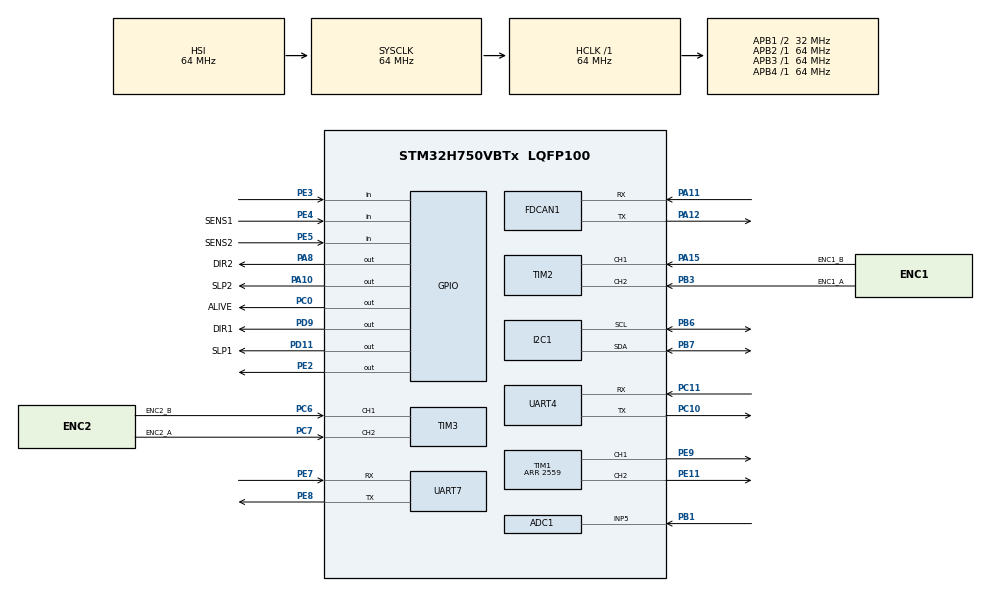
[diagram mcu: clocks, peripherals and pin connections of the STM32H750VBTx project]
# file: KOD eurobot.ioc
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ADC1.Channel-0\#ChannelRegularConversion=ADC_CHANNEL_5
ADC1.ContinuousConvMode=ENABLE
ADC1.ConversionDataManagement=ADC_CONVERSIONDATA_DR
ADC1.NbrOfConversionFlag=1
ADC1.OffsetNumber-0\#ChannelRegularConversion=ADC_OFFSET_NONE
ADC1.OffsetSignedSaturation-0\#ChannelRegularConversion=DISABLE
ADC1.Overrun=ADC_OVR_DATA_OVERWRITTEN
ADC1.Rank-0\#ChannelRegularConversion=1
ADC1.SamplingTime-0\#ChannelRegularConversion=ADC_SAMPLETIME_387CYCLES_5
ADC1.master=1
CORTEX_M7.default_mode_Activation=1
FDCAN1.CalculateBaudRateNominal=500000
FDCAN1.CalculateTimeBitNominal=2000
FDCAN1.CalculateTimeQuantumNominal=100.0
FDCAN1.NominalPrescaler=2
FDCAN1.NominalTimeSeg1=15
FDCAN1.NominalTimeSeg2=4
FDCAN1.RxFifo0ElmtsNbr=8
FDCAN1.RxFifo1ElmtsNbr=8
FDCAN1.StdFiltersNbr=1
FDCAN1.TxFifoQueueElmtsNbr=8
I2C1.Timing=0x00707CBB
Mcu.Family=STM32H7
Mcu.Name=STM32H750VBTx
Mcu.Package=LQFP100
NVIC.FDCAN1_IT0_IRQn=true\:5\:0\:true\:false\:true\:true\:true\:true
NVIC.PriorityGroup=NVIC_PRIORITYGROUP_4
NVIC.TIM7_IRQn=true\:0\:0\:false\:false\:true\:true\:true\:true
PA10.GPIO_Label=SLP2
PA10.GPIO_ModeDefaultOutputPP=GPIO_MODE_OUTPUT_PP
PA10.GPIO_PuPd=GPIO_NOPULL
PA10.GPIO_Speed=GPIO_SPEED_FREQ_LOW
PA10.PinState=GPIO_PIN_RESET
PA10.Signal=GPIO_Output
PA11.GPIO_PuPd=GPIO_PULLUP
PA11.Mode=FDCAN_Activate
PA11.Signal=FDCAN1_RX
PA12.Mode=FDCAN_Activate
PA12.Signal=FDCAN1_TX
PA13\ (JTMS/SWDIO).Mode=Serial_Wire
PA13\ (JTMS/SWDIO).Signal=DEBUG_JTMS-SWDIO
PA14\ (JTCK/SWCLK).Mode=Serial_Wire
PA14\ (JTCK/SWCLK).Signal=DEBUG_JTCK-SWCLK
PA15\ (JTDI).GPIO_Label=ENC1_B
PA15\ (JTDI).GPIO_PuPd=GPIO_PULLUP
PA15\ (JTDI).Signal=S_TIM2_CH1_ETR
PA8.GPIO_Label=DIR2
PA8.Signal=GPIO_Output
PB1.Signal=ADCx_INP5
PB3\ (JTDO/TRACESWO).GPIO_Label=ENC1_A
PB3\ (JTDO/TRACESWO).GPIO_PuPd=GPIO_PULLUP
PB3\ (JTDO/TRACESWO).Signal=S_TIM2_CH2
PB6.GPIO_Pu=GPIO_PULLUP
PB6.Mode=I2C
PB6.Signal=I2C1_SCL
PB7.GPIO_Pu=GPIO_PULLUP
PB7.Mode=I2C
PB7.Signal=I2C1_SDA
PC0.GPIO_Label=ALIVE
PC0.GPIO_PuPd=GPIO_PULLDOWN
PC0.Signal=GPIO_Output
PC10.Mode=Asynchronous
PC10.Signal=UART4_TX
PC11.Mode=Asynchronous
PC11.Signal=UART4_RX
PC6.GPIO_Label=ENC2_B
PC6.GPIO_PuPd=GPIO_PULLUP
PC6.Signal=S_TIM3_CH1
PC7.GPIO_Label=ENC2_A
PC7.GPIO_PuPd=GPIO_PULLUP
PC7.Signal=S_TIM3_CH2
PD11.GPIO_Label=SLP1
PD11.GPIO_PuPd=GPIO_NOPULL
PD11.PinState=GPIO_PIN_RESET
PD11.Signal=GPIO_Output
PD9.GPIO_Label=DIR1
PD9.GPIO_PuPd=GPIO_PULLDOWN
PD9.Signal=GPIO_Output
PE11.Signal=S_TIM1_CH2
PE2.Signal=GPIO_Output
PE3.Signal=GPIO_Input
PE4.GPIO_Label=SENS1
PE4.GPIO_PuPd=GPIO_PULLDOWN
PE4.Signal=GPIO_Input
PE5.GPIO_Label=SENS2
PE5.GPIO_PuPd=GPIO_PULLDOWN
PE5.Signal=GPIO_Input
PE7.Mode=Asynchronous
PE7.Signal=UART7_RX
PE8.Mode=Asynchronous
PE8.Signal=UART7_TX
PE9.Signal=S_TIM1_CH1
ProjectManager.HeapSize=0x200
ProjectManager.StackSize=0x400
ProjectManager.TargetToolchain=STM32CubeIDE
RCC.ADCFreq_Value=80000000
RCC.APB1Freq_Value=32000000
RCC.APB2Freq_Value=64000000
RCC.APB3Freq_Value=64000000
RCC.APB4Freq_Value=64000000
RCC.CortexFreq_Value=64000000
RCC.D2PPRE1=RCC_APB1_DIV2
RCC.DIVM1=4
RCC.DIVM2=4
RCC.DIVN1=10
RCC.DIVN2=10
RCC.DIVQ1=8
RCC.HCLKFreq_Value=64000000
RCC.PLL2FRACN=0
RCC.PLLFRACN=0
RCC.SYSCLKFreq_VALUE=64000000
RCC.USBFreq_Value=20000000
SH.ADCx_INP5.0=ADC1_INP5,IN5-Single-Ended
SH.S_TIM1_CH1.0=TIM1_CH1,PWM Generation1 CH1
SH.S_TIM1_CH2.0=TIM1_CH2,PWM Generation2 CH2
SH.S_TIM2_CH1_ETR.0=TIM2_CH1,Encoder_Interface
SH.S_TIM2_CH2.0=TIM2_CH2,Encoder_Interface
SH.S_TIM3_CH1.0=TIM3_CH1,Encoder_Interface
SH.S_TIM3_CH2.0=TIM3_CH2,Encoder_Interface
TIM1.AutoReloadPreload=TIM_AUTORELOAD_PRELOAD_ENABLE
TIM1.Channel-PWM\ Generation1\ CH1=TIM_CHANNEL_1
TIM1.Channel-PWM\ Generation2\ CH2=TIM_CHANNEL_2
TIM1.Period=2559
TIM1.Pulse-PWM\ Generation1\ CH1=1280
TIM2.EncoderMode=TIM_ENCODERMODE_TI12
TIM3.EncoderMode=TIM_ENCODERMODE_TI12
TIM7.AutoReloadPreload=TIM_AUTORELOAD_PRELOAD_ENABLE
TIM7.Period=1999
TIM7.Prescaler=63
VP_MEMORYMAP_VS_MEMORYMAP.Mode=CurAppReg
VP_TIM7_VS_ClockSourceINT.Mode=Enable_Timer
board=custom

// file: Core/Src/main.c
/* USER CODE BEGIN Header */
/**
  ******************************************************************************
  * @file           : main.c
  * @brief          : STM kretacka - brzina levog/desnog tocka preko CAN-a
  ******************************************************************************
  * @attention
  *
  * Copyright (c) 2026 STMicroelectronics.
  * All rights reserved.
  *
  * This software is licensed under terms that can be found in the LICENSE file
  * in the root directory of this software component.
  * If no LICENSE file comes with this software, it is provided AS-IS.
  *
  ******************************************************************************
  */
/* USER CODE END Header */
#include "main.h"
#include "adc.h"
#include "fdcan.h"
#include "i2c.h"
#include "tim.h"
#include "usart.h"
#include "gpio.h"

/* USER CODE BEGIN Includes */
#include "Lib/board_config.h"

#include "Lib/ADC.h"
#include "Lib/motor.h"
#include "Lib/motors.h"

#include "Lib/encoders.h"
#include "Lib/odometry.h"
#include "Lib/PID.h"

#include "Lib/can_comm.h"
/* USER CODE END Includes */

/* USER CODE BEGIN PV */

volatile static float meas_speed_left  = 0.0f;   /* rad/s, filtrirano */
volatile static float meas_speed_right = 0.0f;
volatile static float cmd_left  = 0.0f;          /* % maks. PWM-a, -100..+100 */
volatile static float cmd_right = 0.0f;

FDCAN_TxHeaderTypeDef TxHeader;
uint8_t TxData[8];

// Can Debug variables
volatile HAL_StatusTypeDef tx_result;
volatile uint32_t tx_error;
volatile uint32_t tx_free;
FDCAN_ProtocolStatusTypeDef can_status;

volatile uint32_t can_rx_level;

/* USER CODE END PV */

void SystemClock_Config(void);
static void MPU_Config(void);

int main(void)
{

  /* MPU Configuration--------------------------------------------------------*/
  MPU_Config();

  /* MCU Configuration--------------------------------------------------------*/

  /* Reset of all peripherals, Initializes the Flash interface and the Systick. */
  HAL_Init();

  /* Configure the system clock */
  SystemClock_Config();

  /* Initialize all configured peripherals */
  MX_GPIO_Init();
  MX_ADC1_Init();
  MX_TIM1_Init();
  MX_I2C1_Init();
  MX_UART4_Init();
  MX_UART7_Init();
  MX_TIM2_Init();
  MX_TIM3_Init();
  MX_TIM7_Init();
  MX_FDCAN1_Init();
  /* USER CODE BEGIN 2 */

  encoder_init();
  PWM_Init();
  odometry_init();

  wheel_pid_gains_init(&wheel_gains, PID_DEFAULT_KP, PID_DEFAULT_KI, PID_DEFAULT_KD, PID_D_LPF_FC_HZ, CONTROL_FREQ_HZ);
  wheel_pid_init(&pid_left, &wheel_gains, PID_COMMAND_LIMIT_PCT, PID_INTEGRATOR_LIMIT_PCT);
  wheel_pid_init(&pid_right, &wheel_gains, PID_COMMAND_LIMIT_PCT, PID_INTEGRATOR_LIMIT_PCT);

  can_comm_init();
//  can_comm_startup_flush();
  TxHeader.Identifier = 123;
  TxHeader.IdType = FDCAN_STANDARD_ID;
  TxHeader.TxFrameType = FDCAN_DATA_FRAME;
  TxHeader.DataLength = FDCAN_DLC_BYTES_8;
  TxHeader.ErrorStateIndicator = FDCAN_ESI_ACTIVE;
  TxHeader.BitRateSwitch = FDCAN_BRS_OFF;
  TxHeader.FDFormat = FDCAN_CLASSIC_CAN;
  TxHeader.TxEventFifoControl = FDCAN_NO_TX_EVENTS;
  TxHeader.MessageMarker = 0;

  HAL_TIM_Base_Start_IT(&htim7);

  for (int i = 0; i < 8; i++) {
	  TxData[i] = (uint8_t)1;
  }

  /* USER CODE END 2 */

  /* Infinite loop */
  while (1)
  {

    /* USER CODE BEGIN 3 */
	  can_rx_level = HAL_GPIO_ReadPin(GPIOA, GPIO_PIN_11);
	  tx_result = HAL_FDCAN_AddMessageToTxFifoQ(&hfdcan1, &TxHeader, TxData);
	  tx_error = hfdcan1.ErrorCode;

	  HAL_Delay(1000);
	  tx_free = HAL_FDCAN_GetTxFifoFreeLevel(&hfdcan1);
	  HAL_FDCAN_GetProtocolStatus(&hfdcan1, &can_status);
//	  can_comm_task();
  }
  /* USER CODE END 3 */
}

void SystemClock_Config(void)
{
  RCC_OscInitTypeDef RCC_OscInitStruct = {0};
  RCC_ClkInitTypeDef RCC_ClkInitStruct = {0};

  /** Supply configuration update enable
  */
  HAL_PWREx_ConfigSupply(PWR_LDO_SUPPLY);

  /** Configure the main internal regulator output voltage
  */
  __HAL_PWR_VOLTAGESCALING_CONFIG(PWR_REGULATOR_VOLTAGE_SCALE3);

  while(!__HAL_PWR_GET_FLAG(PWR_FLAG_VOSRDY)) {}

  /** Initializes the RCC Oscillators according to the specified parameters
  * in the RCC_OscInitTypeDef structure.
  */
  RCC_OscInitStruct.OscillatorType = RCC_OSCILLATORTYPE_HSI;
  RCC_OscInitStruct.HSIState = RCC_HSI_DIV1;
  RCC_OscInitStruct.HSICalibrationValue = RCC_HSICALIBRATION_DEFAULT;
  RCC_OscInitStruct.PLL.PLLState = RCC_PLL_ON;
  RCC_OscInitStruct.PLL.PLLSource = RCC_PLLSOURCE_HSI;
  RCC_OscInitStruct.PLL.PLLM = 4;
  RCC_OscInitStruct.PLL.PLLN = 10;
  RCC_OscInitStruct.PLL.PLLP = 2;
  RCC_OscInitStruct.PLL.PLLQ = 8;
  RCC_OscInitStruct.PLL.PLLR = 2;
  RCC_OscInitStruct.PLL.PLLRGE = RCC_PLL1VCIRANGE_3;
  RCC_OscInitStruct.PLL.PLLVCOSEL = RCC_PLL1VCOMEDIUM;
  RCC_OscInitStruct.PLL.PLLFRACN = 0;
  if (HAL_RCC_OscConfig(&RCC_OscInitStruct) != HAL_OK)
  {
    Error_Handler();
  }

  /** Initializes the CPU, AHB and APB buses clocks
  */
  RCC_ClkInitStruct.ClockType = RCC_CLOCKTYPE_HCLK|RCC_CLOCKTYPE_SYSCLK
                              |RCC_CLOCKTYPE_PCLK1|RCC_CLOCKTYPE_PCLK2
                              |RCC_CLOCKTYPE_D3PCLK1|RCC_CLOCKTYPE_D1PCLK1;
  RCC_ClkInitStruct.SYSCLKSource = RCC_SYSCLKSOURCE_HSI;
  RCC_ClkInitStruct.SYSCLKDivider = RCC_SYSCLK_DIV1;
  RCC_ClkInitStruct.AHBCLKDivider = RCC_HCLK_DIV1;
  RCC_ClkInitStruct.APB3CLKDivider = RCC_APB3_DIV1;
  RCC_ClkInitStruct.APB1CLKDivider = RCC_APB1_DIV2;
  RCC_ClkInitStruct.APB2CLKDivider = RCC_APB2_DIV1;
  RCC_ClkInitStruct.APB4CLKDivider = RCC_APB4_DIV1;

  if (HAL_RCC_ClockConfig(&RCC_ClkInitStruct, FLASH_LATENCY_1) != HAL_OK)
  {
    Error_Handler();
  }
}

/* USER CODE BEGIN 4 */

void HAL_TIM_PeriodElapsedCallback(TIM_HandleTypeDef *htim)
{
    if (htim->Instance != TIM7)
        return;

    static uint16_t feedback_div = 0;
    static uint16_t alive_div = 0;

    // 500hz
    odometry_update();

    meas_speed_left  = get_wheel_speed_left();
    meas_speed_right = get_wheel_speed_right();

    // PID - 500 Hz
    if (can_motors_on) {
        cmd_left = wheel_pid_update(&pid_left, can_ref_speed_left, meas_speed_left);
        cmd_right = wheel_pid_update(&pid_right, can_ref_speed_right, meas_speed_right);

        PWM_SetCommand_Left(cmd_left);
        PWM_SetCommand_Right(cmd_right);
    } else {
        cmd_left = 0.0f;
        cmd_right = 0.0f;

        PWM_Stop();
    }

    // CAN feedback - 100 Hz
    if (++feedback_div >= CONTROL_FREQ_HZ / FEEDBACK_FREQ_HZ)
    {
        feedback_div = 0;
        can_comm_feedback_due();
    }

    // 1Hz alive led blinking
    if (++alive_div >= CONTROL_FREQ_HZ)
	{
		alive_div = 0;
		HAL_GPIO_TogglePin(ALIVE_GPIO_Port, ALIVE_Pin);
	}
}

/* USER CODE END 4 */

 /* MPU Configuration */

void MPU_Config(void)
{
  MPU_Region_InitTypeDef MPU_InitStruct = {0};

  /* Disables the MPU */
  HAL_MPU_Disable();

  /** Initializes and configures the Region and the memory to be protected
  */
  MPU_InitStruct.Enable = MPU_REGION_ENABLE;
  MPU_InitStruct.Number = MPU_REGION_NUMBER0;
  MPU_InitStruct.BaseAddress = 0x0;
  MPU_InitStruct.Size = MPU_REGION_SIZE_4GB;
  MPU_InitStruct.SubRegionDisable = 0x87;
  MPU_InitStruct.TypeExtField = MPU_TEX_LEVEL0;
  MPU_InitStruct.AccessPermission = MPU_REGION_NO_ACCESS;
  MPU_InitStruct.DisableExec = MPU_INSTRUCTION_ACCESS_DISABLE;
  MPU_InitStruct.IsShareable = MPU_ACCESS_SHAREABLE;
  MPU_InitStruct.IsCacheable = MPU_ACCESS_NOT_CACHEABLE;
  MPU_InitStruct.IsBufferable = MPU_ACCESS_NOT_BUFFERABLE;

  HAL_MPU_ConfigRegion(&MPU_InitStruct);
  /* Enables the MPU */
  HAL_MPU_Enable(MPU_PRIVILEGED_DEFAULT);

}

void Error_Handler(void)
{
  __disable_irq();
  while (1)
  {
  }
}
